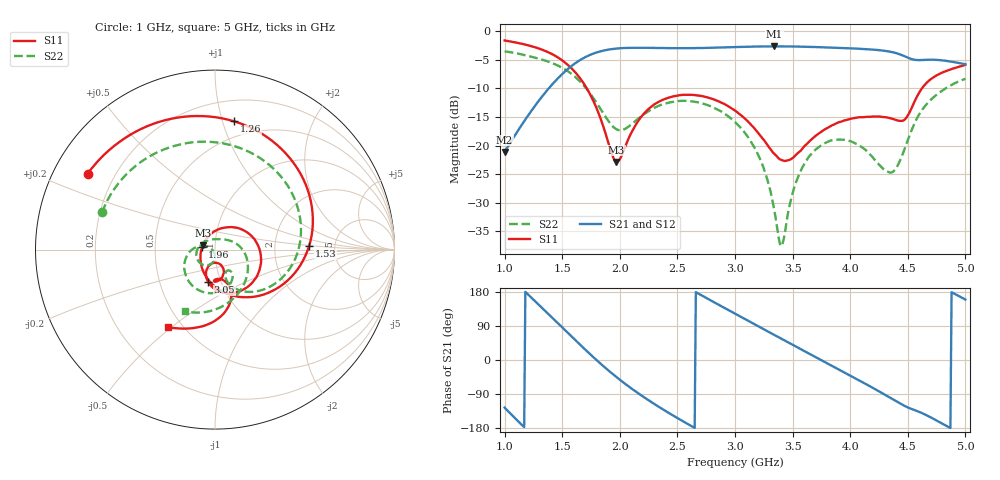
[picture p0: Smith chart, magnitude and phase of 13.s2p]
!Agilent Technologies,N5224A,MY51441093,A.09.90.21
!Agilent N5224A: A.09.90.21
!Date: Wednesday, October 01, 2025 16:40:08
!Correction: S11(Full 2 Port(1,2))
!S21(Full 2 Port(1,2))
!S12(Full 2 Port(1,2))
!S22(Full 2 Port(1,2))
!S2P File: Measurements: S11, S21, S12, S22:
# Hz S  dB  R 50
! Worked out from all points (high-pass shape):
!   401 points, 1 GHz to 5 GHz, reference 50 ohm
!   highest |S21| = -2.69 dB at 3.34 GHz (marker M1); lowest = -21.1 dB at 1 GHz (marker M2)
!   |S21| within 3 dB of the highest: 1.609 GHz to 4.968 GHz (3.359 GHz wide, 102 % of centre)
!   lowest |S11| = -22.9 dB at 1.97 GHz (marker M3), VSWR 1.16, Z = 43.6 + j2.18 ohm
!   |S11| at or under -10 dB: 1.713 GHz to 4.624 GHz (2.911 GHz wide, 91.9 % of centre)
!   |S22| runs from -37.6 to -3.6 dB; largest |S21 - S12| = 0.0042
!   S11 on the Smith chart (normalised r, x): 1 GHz: 0.10, +0.27; 1.26 GHz: 0.37, +1.09; 1.53 GHz: 3.20, +0.17; 1.96 GHz: 0.87, +0.02; 3.05 GHz: 0.87, -0.33; 5 GHz: 0.42, -0.49
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1e9  -1.66 149.2  -21.12 -125.7  -21.10 -125.7  -3.58 161.8
1.26e9  -2.82 81.5  -13.18 156.5  -13.17 156.5  -4.64 79.1
1.4e9  -3.92 41.6  -9.63 115.6  -9.63 115.6  -5.51 35.4
1.53e9  -5.61 2.1  -6.97 77.3  -6.96 77.2  -6.79 -3.1
1.67e9  -8.66 -42.8  -4.90 36.1  -4.89 36.0  -9.15 -39.9
1.81e9  -14.08 -93.0  -3.68 -3.5  -3.67 -3.5  -12.91 -65.3
1.96e9  -22.71 170.1  -3.10 -42.3  -3.08 -42.4  -17.01 -65.1
1.97e9  -22.86 159.8  -3.08 -44.8  -3.06 -44.8  -17.14 -64.1
2.14e9  -16.34 55.4  -2.94 -83.6  -2.93 -83.6  -15.64 -54.4
2.34e9  -12.34 5.2  -2.98 -123.9  -2.97 -123.9  -13.05 -73.0
2.66e9  -11.21 -51.4  -2.99 179.0  -2.97 179.1  -12.40 -117.7
3e9  -13.89 -96.8  -2.81 122.3  -2.79 122.3  -15.91 -167.5
3.05e9  -14.68 -101.9  -2.78 114.0  -2.76 114.0  -16.91 -174.8
3.23e9  -18.55 -112.5  -2.71 84.4  -2.68 84.4  -22.92 162.2
3.34e9  -21.43 -106.1  -2.69 66.3  -2.67 66.3  -31.18 162.9
3.41e9  -22.58 -95.0  -2.69 54.8  -2.67 54.8  -37.28 -135.1
3.52e9  -21.83 -74.1  -2.72 36.9  -2.70 36.9  -26.95 -91.2
3.67e9  -18.83 -66.7  -2.79 12.6  -2.78 12.5  -21.32 -107.3
4.06e9  -15.13 -84.1  -3.09 -50.7  -3.06 -50.9  -19.80 -174.3
4.34e9  -15.19 -91.9  -3.59 -98.5  -3.56 -98.7  -24.70 95.8
4.65e9  -9.35 -79.1  -5.04 -143.8  -5.02 -144.1  -13.10 -35.0
5e9  -5.91 -121.2  -5.81 159.6  -5.79 159.4  -8.36 -115.9
